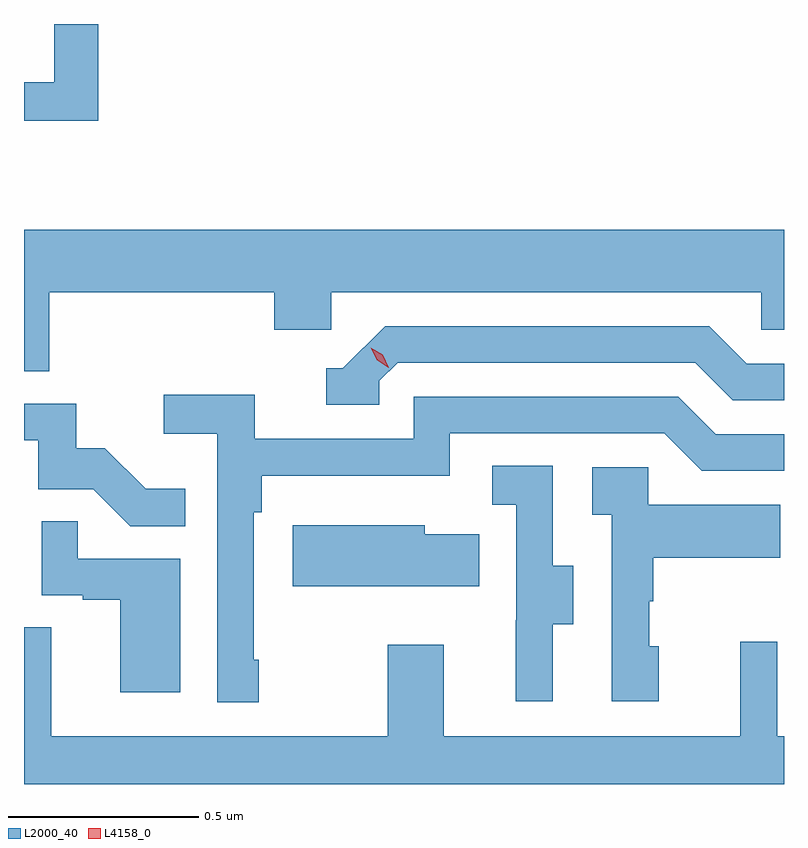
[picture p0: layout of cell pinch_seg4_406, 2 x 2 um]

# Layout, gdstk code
import gdstk
lib = gdstk.Library(unit=1e-6, precision=1e-09)
def P(c, l, *ps):  # polygons
    for p in ps: c.add(gdstk.Polygon(p, *l))
L2000_40 = (2000, 40)
L4158_0 = (4158, 0)

pinch_seg4_406 = lib.new_cell('pinch_seg4_406')
P(pinch_seg4_406, L2000_40, [(970.259,786.87),(970.143,786.87),(970.143,786.717),(970.063,786.717),(970.063,786.616),(970.259,786.616)],
  [(970.13,786.164),(970.721,786.164),(970.721,786.066),(970.872,786.066),(970.872,786.164),(972.003,786.164),(972.003,786.066),(972.063,786.066),(972.063,786.328),(970.063,786.328),(970.063,785.956),(970.13,785.956)],
  [(970.998,785.931),(971.046,785.979),(971.829,785.979),(971.928,785.88),(972.063,785.88),(972.063,785.976),(971.965,785.976),(971.866,786.075),(971.013,786.075),(970.902,785.964),(970.859,785.964),(970.859,785.868),(970.998,785.868)],
  [(970.681,785.197),(970.668,785.197),(970.668,785.585),(970.688,785.585),(970.688,785.681),(971.184,785.681),(971.184,785.793),(971.748,785.793),(971.847,785.694),(972.063,785.694),(972.063,785.79),(971.884,785.79),(971.785,785.889),(971.088,785.889),(971.088,785.778),(970.67,785.778),(970.67,785.894),(970.431,785.894),(970.431,785.792),(970.572,785.792),(970.572,785.085),(970.681,785.085)],
  [(970.487,785.647),(970.383,785.647),(970.276,785.754),(970.2,785.754),(970.2,785.871),(970.063,785.871),(970.063,785.775),(970.101,785.775),(970.101,785.646),(970.245,785.646),(970.343,785.548),(970.487,785.548)],
  [(971.455,785.29),(971.509,785.29),(971.509,785.445),(971.454,785.445),(971.454,785.708),(971.295,785.708),(971.295,785.605),(971.358,785.605),(971.358,785.301),(971.357,785.301),(971.357,785.088),(971.455,785.088)],
  [(971.734,785.232),(971.709,785.232),(971.709,785.351),(971.719,785.351),(971.719,785.465),(972.053,785.465),(972.053,785.605),(971.706,785.605),(971.706,785.703),(971.559,785.703),(971.559,785.579),(971.61,785.579),(971.61,785.088),(971.734,785.088)],
  [(970.474,785.463),(970.205,785.463),(970.205,785.561),(970.11,785.561),(970.11,785.367),(970.217,785.367),(970.217,785.355),(970.316,785.355),(970.316,785.112),(970.474,785.112)],
  [(971.261,785.527),(971.118,785.527),(971.118,785.551),(970.77,785.551),(970.77,785.39),(971.261,785.39)],
  [(972.063,784.996),(972.045,784.996),(972.045,785.245),(971.948,785.245),(971.948,784.996),(971.167,784.996),(971.167,785.236),(971.02,785.236),(971.02,784.996),(970.135,784.996),(970.135,785.282),(970.063,785.282),(970.063,784.87),(972.063,784.87)])
P(pinch_seg4_406, L4158_0, [(971.023,785.966),(970.992,785.985),(970.976,786.018),(970.976,786.018),(970.976,786.018),(971.007,785.999),(971.023,785.966),(971.023,785.966)])

lib.write_gds('pinch_seg4_406.gds')
